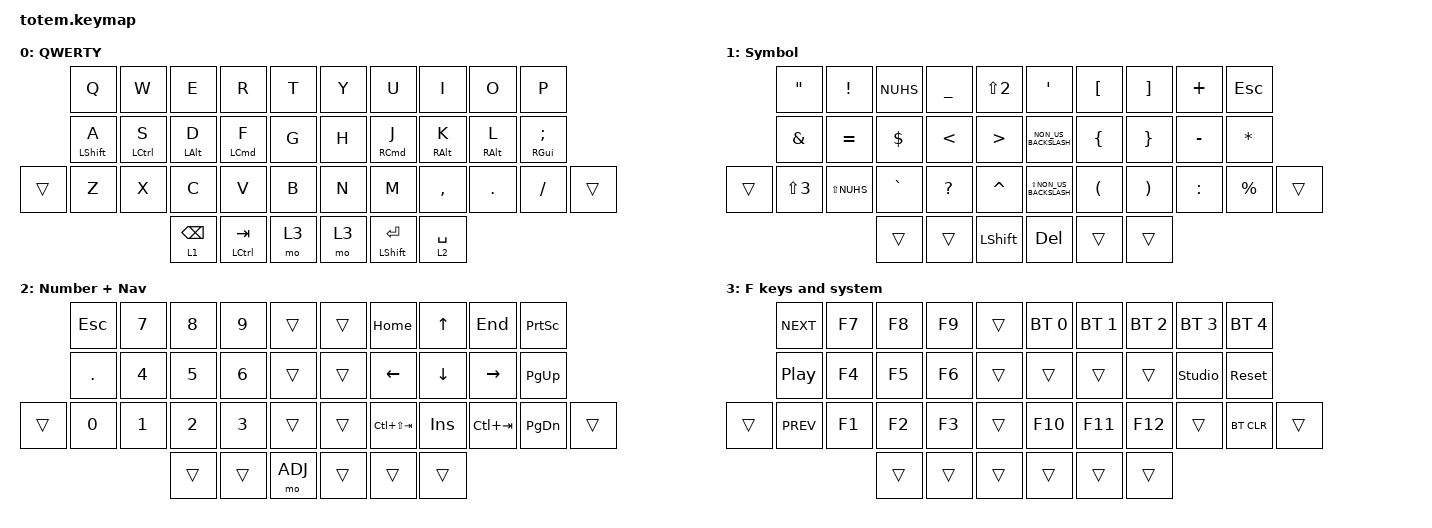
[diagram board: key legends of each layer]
#include <behaviors.dtsi>
#include <dt-bindings/zmk/bt.h>
#include <dt-bindings/zmk/keys.h>

#define BASE 0
#define NAV  1
#define SYM  2
#define ADJ  3

/ {
    combos {
        compatible = "zmk,combos";

        combo_esc {
            timeout-ms = <50>;
            key-positions = <0 1>;
            bindings = <&kp ESC>;
        };
    };

    macros {
        gif: gif {
            label = "giphy";
            compatible = "zmk,behavior-macro";
            #binding-cells = <0>;
            bindings =
                <&macro_press>,
                <&kp LSHFT>,
                <&macro_tap>,
                <&kp N2>,
                <&macro_release>,
                <&kp LSHFT>,
                <&macro_tap>,
                <&kp G &kp I &kp F>;
        };
    };

    behaviors {
        HRMAltL: HRMAltL {
            compatible = "zmk,behavior-hold-tap";
            label = "HRMALTL";
            bindings = <&kp>, <&kp>;

            #binding-cells = <2>;
            tapping-term-ms = <250>;
            quick-tap-ms = <150>;
            require-prior-idle-ms = <125>;
            flavor = "balanced";
            hold-trigger-on-release;
            hold-trigger-key-positions = <35 5 6 7 8 9 15 16 17 18 19 26 27 28 29 30 31 35 36 37>;
        };

        HRMControlL: HRMControlL {
            compatible = "zmk,behavior-hold-tap";
            label = "HRMCONTROLL";
            bindings = <&kp>, <&kp>;

            #binding-cells = <2>;
            tapping-term-ms = <300>;
            quick-tap-ms = <175>;
            require-prior-idle-ms = <150>;
            flavor = "balanced";
            hold-trigger-on-release;
            hold-trigger-key-positions = <35 5 6 7 8 9 15 16 17 18 19 26 27 28 29 30 31 35 36 37 32 33 34>;
        };

        HRMOptionL: HRMOptionL {
            compatible = "zmk,behavior-hold-tap";
            label = "HRMOPTIONL";
            bindings = <&kp>, <&kp>;

            #binding-cells = <2>;
            tapping-term-ms = <300>;
            quick-tap-ms = <175>;
            require-prior-idle-ms = <150>;
            flavor = "balanced";
            hold-trigger-on-release;
            hold-trigger-key-positions = <35 5 6 7 8 9 15 16 17 18 19 26 27 28 29 30 31 35 36 37>;
        };

        HRMCommandL: HRMCommandL {
            compatible = "zmk,behavior-hold-tap";
            label = "HRMCOMMANDL";
            bindings = <&kp>, <&kp>;

            #binding-cells = <2>;
            tapping-term-ms = <300>;
            quick-tap-ms = <175>;
            require-prior-idle-ms = <150>;
            flavor = "balanced";
            hold-trigger-on-release;
            hold-trigger-key-positions = <35 5 6 7 8 9 15 16 17 18 19 26 27 28 29 30 31 35 36 37 32 33 34>;
        };

        HRMAltR: HRMAltR {
            compatible = "zmk,behavior-hold-tap";
            label = "HRMALTR";
            bindings = <&kp>, <&kp>;

            #binding-cells = <2>;
            tapping-term-ms = <250>;
            quick-tap-ms = <150>;
            require-prior-idle-ms = <125>;
            flavor = "balanced";
            hold-trigger-on-release;
            hold-trigger-key-positions = <0 1 2 3 4 10 11 12 13 14 20 21 22 23 24 25 32 33 34>;
        };

        HRMControlR: HRMControlR {
            compatible = "zmk,behavior-hold-tap";
            label = "HRMCONTROLR";
            bindings = <&kp>, <&kp>;

            #binding-cells = <2>;
            tapping-term-ms = <300>;
            quick-tap-ms = <175>;
            require-prior-idle-ms = <150>;
            flavor = "balanced";
            hold-trigger-on-release;
            hold-trigger-key-positions = <0 1 2 3 4 10 11 12 13 14 20 21 22 23 24 25 32 33 34 35 36 37>;
        };

        HRMOptionR: HRMOptionR {
            compatible = "zmk,behavior-hold-tap";
            label = "HRMOPTIONR";
            bindings = <&kp>, <&kp>;

            #binding-cells = <2>;
            tapping-term-ms = <300>;
            quick-tap-ms = <175>;
            require-prior-idle-ms = <150>;
            flavor = "balanced";
            hold-trigger-on-release;
            hold-trigger-key-positions = <0 1 2 3 4 10 11 12 13 14 20 21 22 23 24 25 32 33 34 35 36 37>;
        };

        HRMCommandR: HRMCommandR {
            compatible = "zmk,behavior-hold-tap";
            label = "HRMCOMMANDR";
            bindings = <&kp>, <&kp>;

            #binding-cells = <2>;
            tapping-term-ms = <300>;
            quick-tap-ms = <175>;
            require-prior-idle-ms = <150>;
            flavor = "balanced";
            hold-trigger-on-release;
            hold-trigger-key-positions = <0 1 2 3 4 10 11 12 13 14 20 21 22 23 24 25 32 33 34 37 36 35 33 34 35>;
        };

        LTRepeat: LTRepeat {
            compatible = "zmk,behavior-hold-tap";
            label = "LTREPEAT";
            bindings = <&mo>, <&kp>;

            #binding-cells = <2>;
            tapping-term-ms = <300>;
            quick-tap-ms = <200>;
            flavor = "tap-preferred";
        };

        HRMShiftL: HRMShiftL {
            compatible = "zmk,behavior-hold-tap";
            label = "HRMSHIFTL";
            bindings = <&kp>, <&kp>;

            #binding-cells = <2>;
            tapping-term-ms = <300>;
            quick-tap-ms = <175>;
            require-prior-idle-ms = <150>;
            hold-trigger-key-positions = <15 5 26 27 16 6 8 9 16 17 18 19 27 28 29 30 30 21 0 22 11 1 2 12 23 3 13 24 25 14 4 7>;
            hold-trigger-on-release;
            flavor = "balanced";
        };

        HRMShiftR: HRMShiftR {
            compatible = "zmk,behavior-hold-tap";
            label = "HRMSHIFTR";
            bindings = <&kp>, <&kp>;

            #binding-cells = <2>;
            tapping-term-ms = <300>;
            quick-tap-ms = <175>;
            require-prior-idle-ms = <150>;
            flavor = "balanced";
            hold-trigger-key-positions = <21 10 0 22 1 23 12 2 11 24 13 3 25 14 4 26 15 5 27 16 6 28 17 7 29 18 8 30 9>;
        };
    };

    keymap {
        compatible = "zmk,keymap";

        // ▄▄▄▄▄▄▄▄▄▄▄▄▄▄▄▄▄▄▄▄▄▄▄▄▄▄▄▄▄▄▄▄▄▄▄▄▄▄▄▄▄▄▄▄▄▄▄▄▄▄▄▄▄▄▄▄▄▄▄▄▄▄▄▄▄▄▄▄▄▄▄▄▄▄▄▄▄▄▄▄▄▄▄▄▄▄▄▄▄▄▄▄▄▄▄▄▄▄▄▄▄▄▄▄▄▄▄▄▄▄▄▄▄▄▄▄▄▄▄▄▄▄▄▄▄▄▄▄▄▄▄▄▄▄▄▄▄▄▄▄▄▄▄▄▄▄▄▄▄

        default_layer {
            // ┏━━━━━━━━━━━━━━━━━━━━━━━━━━━━━━━━━━━━━━━┓

            label = "QWERTY";

            // ┗━━━━━━━━━━━━━━━━━━━━━━━━━━━━━━━━━━━━━━━┛
            //             ┏━━━━━━━━━━━┳━━━━━━━━━━━┳━━━━━━━━━━━┳━━━━━━━━━━━┳━━━━━━━━━━━┓   ┏━━━━━━━━━━━┳━━━━━━━━━━━┳━━━━━━━━━━━┳━━━━━━━━━━━┳━━━━━━━━━━━┓
            //             ┃     Q     ┃     W     ┃     F     ┃     P     ┃     G     ┃   ┃     J     ┃     L     ┃     U     ┃     Y     ┃     ;     ┃
            //             ┣━━━━━━━━━━━╋━━━━━━━━━━━╋━━━━━━━━━━━╋━━━━━━━━━━━╋━━━━━━━━━━━┫   ┣━━━━━━━━━━━╋━━━━━━━━━━━╋━━━━━━━━━━━╋━━━━━━━━━━━╋━━━━━━━━━━━┫
            //             ┃     A     ┃     R     ┃     S     ┃     T     ┃     D     ┃   ┃     H     ┃     N     ┃     E     ┃     I     ┃     O     ┃
            // ┏━━━━━━━━━━━╋━━━━━━━━━━━╋━━━━━━━━━━━╋━━━━━━━━━━━╋━━━━━━━━━━━╋━━━━━━━━━━━┫   ┣━━━━━━━━━━━╋━━━━━━━━━━━╋━━━━━━━━━━━╋━━━━━━━━━━━╋━━━━━━━━━━━╋━━━━━━━━━━━┓
            // ┃           ┃     Z     ┃     X     ┃     C     ┃     V     ┃     B     ┃   ┃     K     ┃     M     ┃     ,     ┃     .     ┃     /     ┃           ┃
            // ┗━━━━━━━━━━━┻━━━━━━━━━━━┻━━━━━━━━━━━╋━━━━━━━━━━━╋━━━━━━━━━━━╋━━━━━━━━━━━┫   ┣━━━━━━━━━━━╋━━━━━━━━━━━╋━━━━━━━━━━━╋━━━━━━━━━━━┻━━━━━━━━━━━┻━━━━━━━━━━━┛
            //                                     ┃           ┃    TAB    ┃    SPC    ┃   ┃   ENTER   ┃   BSPC    ┃           ┃
            //                                     ┗━━━━━━━━━━━┻━━━━━━━━━━━┻━━━━━━━━━━━┛   ┗━━━━━━━━━━━┻━━━━━━━━━━━┻━━━━━━━━━━━┛

            bindings = <
        &kp Q                    &kp W                 &kp E                  &kp R                        &kp T    &kp Y  &kp U                         &kp I               &kp O                &kp P
        &HRMShiftL LEFT_SHIFT A  &HRMControlL LCTRL S  &HRMOptionL LALT D     &HRMCommandL LEFT_COMMAND F  &kp G    &kp H  &HRMCommandR RIGHT_COMMAND J  &HRMOptionR RALT K  &HRMControlR RALT L  &mt RGUI SEMICOLON
&trans  &kp Z                    &kp X                 &kp C                  &kp V                        &kp B    &kp N  &kp M                         &kp COMMA           &kp DOT              &kp FSLH            &trans
                                                       &LTRepeat 1 BACKSPACE  &mt LCTRL TAB                &mo 3    &mo 3  &mt LEFT_SHIFT ENTER          &lt 2 SPACE
            >;
        };

        // ▄▄▄▄▄▄▄▄▄▄▄▄▄▄▄▄▄▄▄▄▄▄▄▄▄▄▄▄▄▄▄▄▄▄▄▄▄▄▄▄▄▄▄▄▄▄▄▄▄▄▄▄▄▄▄▄▄▄▄▄▄▄▄▄▄▄▄▄▄▄▄▄▄▄▄▄▄▄▄▄▄▄▄▄▄▄▄▄▄▄▄▄▄▄▄▄▄▄▄▄▄▄▄▄▄▄▄▄▄▄▄▄▄▄▄▄▄▄▄▄▄▄▄▄▄▄▄▄▄▄▄▄▄▄▄▄▄▄▄▄▄▄▄▄▄▄▄▄▄

        character_layer {
            // ┏━━━━━━━━━━━━━━━━━━━━━━━━━━━━━━━━━━━━━━━┓

            label = "Symbol";

            // ┗━━━━━━━━━━━━━━━━━━━━━━━━━━━━━━━━━━━━━━━┛
            //             ┏━━━━━━━━━━━┳━━━━━━━━━━━┳━━━━━━━━━━━┳━━━━━━━━━━━┳━━━━━━━━━━━┓   ┏━━━━━━━━━━━┳━━━━━━━━━━━┳━━━━━━━━━━━┳━━━━━━━━━━━┳━━━━━━━━━━━┓
            //             ┃           ┃           ┃     UP    ┃           ┃     {     ┃   ┃     }     ┃     7     ┃     8     ┃     9     ┃     +     ┃
            //             ┣━━━━━━━━━━━╋━━━━━━━━━━━╋━━━━━━━━━━━╋━━━━━━━━━━━╋━━━━━━━━━━━┫   ┣━━━━━━━━━━━╋━━━━━━━━━━━╋━━━━━━━━━━━╋━━━━━━━━━━━╋━━━━━━━━━━━┫
            //             ┃   SHIFT   ┃   LEFT    ┃    DOWN   ┃   RIGHT   ┃     [     ┃   ┃     ]     ┃     4     ┃     5     ┃     6     ┃     -     ┃
            // ┏━━━━━━━━━━━╋━━━━━━━━━━━╋━━━━━━━━━━━╋━━━━━━━━━━━╋━━━━━━━━━━━╋━━━━━━━━━━━┫   ┣━━━━━━━━━━━╋━━━━━━━━━━━╋━━━━━━━━━━━╋━━━━━━━━━━━╋━━━━━━━━━━━╋━━━━━━━━━━━┓
            // ┃           ┃           ┃   P UP    ┃  C LOCK   ┃  P DOWN   ┃     (     ┃   ┃     )     ┃     1     ┃     2     ┃     3     ┃     *     ┃           ┃
            // ┗━━━━━━━━━━━┻━━━━━━━━━━━┻━━━━━━━━━━━╋━━━━━━━━━━━╋━━━━━━━━━━━╋━━━━━━━━━━━┫   ┣━━━━━━━━━━━╋━━━━━━━━━━━╋━━━━━━━━━━━╋━━━━━━━━━━━┻━━━━━━━━━━━┻━━━━━━━━━━━┛
            //                                     ┃           ┃    TAB    ┃    SPC    ┃   ┃    DEL    ┃     0     ┃           ┃
            //                                     ┗━━━━━━━━━━━┻━━━━━━━━━━━┻━━━━━━━━━━━┛   ┗━━━━━━━━━━━┻━━━━━━━━━━━┻━━━━━━━━━━━┛

            bindings = <
        &kp DOUBLE_QUOTES  &kp EXCLAMATION  &kp NUHS   &kp UNDER  &kp LS(N2)        &kp SQT                   &kp LBKT              &kp RBKT               &kp PLUS   &kp ESC
        &kp AMPS           &kp EQUAL        &kp DLLR   &kp LT     &kp GT            &kp NON_US_BACKSLASH      &kp LBRC              &kp RIGHT_BRACE        &kp MINUS  &kp ASTRK
&trans  &kp LS(NUMBER_3)   &kp LS(NUHS)     &kp GRAVE  &kp QMARK  &kp CARET         &kp LS(NON_US_BACKSLASH)  &kp LEFT_PARENTHESIS  &kp RIGHT_PARENTHESIS  &kp COLON  &kp PRCNT  &trans
                                            &trans     &trans     &kp LEFT_SHIFT    &kp DELETE                &trans                &trans
            >;
        };

        // ▄▄▄▄▄▄▄▄▄▄▄▄▄▄▄▄▄▄▄▄▄▄▄▄▄▄▄▄▄▄▄▄▄▄▄▄▄▄▄▄▄▄▄▄▄▄▄▄▄▄▄▄▄▄▄▄▄▄▄▄▄▄▄▄▄▄▄▄▄▄▄▄▄▄▄▄▄▄▄▄▄▄▄▄▄▄▄▄▄▄▄▄▄▄▄▄▄▄▄▄▄▄▄▄▄▄▄▄▄▄▄▄▄▄▄▄▄▄▄▄▄▄▄▄▄▄▄▄▄▄▄▄▄▄▄▄▄▄▄▄▄▄▄▄▄▄▄▄▄

        numeric_layer {
            // ┏━━━━━━━━━━━━━━━━━━━━━━━━━━━━━━━━━━━━━━━┓

            label = "Number + Nav";

            // ┗━━━━━━━━━━━━━━━━━━━━━━━━━━━━━━━━━━━━━━━┛
            //             ┏━━━━━━━━━━━┳━━━━━━━━━━━┳━━━━━━━━━━━┳━━━━━━━━━━━┳━━━━━━━━━━━┓   ┏━━━━━━━━━━━┳━━━━━━━━━━━┳━━━━━━━━━━━┳━━━━━━━━━━━┳━━━━━━━━━━━┓
            //             ┃     !     ┃     @     ┃     #     ┃     $     ┃     %     ┃   ┃     ˆ     ┃     &     ┃     Ü     ┃     '     ┃     "     ┃
            //             ┣━━━━━━━━━━━╋━━━━━━━━━━━╋━━━━━━━━━━━╋━━━━━━━━━━━╋━━━━━━━━━━━┫   ┣━━━━━━━━━━━╋━━━━━━━━━━━╋━━━━━━━━━━━╋━━━━━━━━━━━╋━━━━━━━━━━━┫
            //             ┃     Ä     ┃           ┃    SZ     ┃           ┃           ┃   ┃   MUTE    ┃   YEN     ┃   EURO    ┃  POUND    ┃     Ö     ┃
            // ┏━━━━━━━━━━━╋━━━━━━━━━━━╋━━━━━━━━━━━╋━━━━━━━━━━━╋━━━━━━━━━━━╋━━━━━━━━━━━┫   ┣━━━━━━━━━━━╋━━━━━━━━━━━╋━━━━━━━━━━━╋━━━━━━━━━━━╋━━━━━━━━━━━╋━━━━━━━━━━━┓
            // ┃           ┃  EMAIL1   ┃  EMAIL2   ┃           ┃           ┃           ┃   ┃   VOL-    ┃   VOL+    ┃   LAST    ┃   NEXT    ┃     \     ┃           ┃
            // ┗━━━━━━━━━━━┻━━━━━━━━━━━┻━━━━━━━━━━━╋━━━━━━━━━━━╋━━━━━━━━━━━╋━━━━━━━━━━━┫   ┣━━━━━━━━━━━╋━━━━━━━━━━━╋━━━━━━━━━━━╋━━━━━━━━━━━┻━━━━━━━━━━━┻━━━━━━━━━━━┛
            //                                     ┃           ┃    GIF    ┃    ADJ    ┃   ┃           ┃           ┃           ┃
            //                                     ┗━━━━━━━━━━━┻━━━━━━━━━━━┻━━━━━━━━━━━┛   ┗━━━━━━━━━━━┻━━━━━━━━━━━┻━━━━━━━━━━━┛

            bindings = <
        &kp ESCAPE  &kp N7        &kp N8        &kp N9        &trans     &trans  &kp HOME         &kp UP_ARROW    &kp END          &kp PRINTSCREEN
        &kp DOT     &kp NUMBER_4  &kp N5        &kp N6        &trans     &trans  &kp LEFT_ARROW   &kp DOWN_ARROW  &kp RIGHT_ARROW  &kp PG_UP
&trans  &kp N0      &kp NUMBER_1  &kp NUMBER_2  &kp NUMBER_3  &trans     &trans  &kp LC(LS(TAB))  &kp INS         &kp LC(TAB)      &kp PAGE_DOWN    &trans
                                  &trans        &trans        &mo ADJ    &trans  &trans           &trans
            >;
        };

        // ▄▄▄▄▄▄▄▄▄▄▄▄▄▄▄▄▄▄▄▄▄▄▄▄▄▄▄▄▄▄▄▄▄▄▄▄▄▄▄▄▄▄▄▄▄▄▄▄▄▄▄▄▄▄▄▄▄▄▄▄▄▄▄▄▄▄▄▄▄▄▄▄▄▄▄▄▄▄▄▄▄▄▄▄▄▄▄▄▄▄▄▄▄▄▄▄▄▄▄▄▄▄▄▄▄▄▄▄▄▄▄▄▄▄▄▄▄▄▄▄▄▄▄▄▄▄▄▄▄▄▄▄▄▄▄▄▄▄▄▄▄▄▄▄▄▄▄▄▄

        extra_stuff {
            // ┏━━━━━━━━━━━━━━━━━━━━━━━━━━━━━━━━━━━━━━━┓

            label = "F keys and system";

            // ┗━━━━━━━━━━━━━━━━━━━━━━━━━━━━━━━━━━━━━━━┛
            //             ┏━━━━━━━━━━━┳━━━━━━━━━━━┳━━━━━━━━━━━┳━━━━━━━━━━━┳━━━━━━━━━━━┓   ┏━━━━━━━━━━━┳━━━━━━━━━━━┳━━━━━━━━━━━┳━━━━━━━━━━━┳━━━━━━━━━━━┓
            //             ┃   RESET   ┃ BT CLEAR  ┃  OUT TOG  ┃           ┃           ┃   ┃           ┃    F7     ┃    F8     ┃    F9     ┃    F12    ┃
            //             ┣━━━━━━━━━━━╋━━━━━━━━━━━╋━━━━━━━━━━━╋━━━━━━━━━━━╋━━━━━━━━━━━┫   ┣━━━━━━━━━━━╋━━━━━━━━━━━╋━━━━━━━━━━━╋━━━━━━━━━━━╋━━━━━━━━━━━┫
            //             ┃ BOOTLOAD  ┃ BT NEXT   ┃           ┃           ┃           ┃   ┃           ┃    F4     ┃    F5     ┃    F6     ┃    F11    ┃
            // ┏━━━━━━━━━━━╋━━━━━━━━━━━╋━━━━━━━━━━━╋━━━━━━━━━━━╋━━━━━━━━━━━╋━━━━━━━━━━━┫   ┣━━━━━━━━━━━╋━━━━━━━━━━━╋━━━━━━━━━━━╋━━━━━━━━━━━╋━━━━━━━━━━━╋━━━━━━━━━━━┓
            // ┃           ┃           ┃ BT PREV   ┃           ┃           ┃           ┃   ┃           ┃    F1     ┃    F2     ┃    F3     ┃    F10    ┃           ┃
            // ┗━━━━━━━━━━━┻━━━━━━━━━━━┻━━━━━━━━━━━╋━━━━━━━━━━━╋━━━━━━━━━━━╋━━━━━━━━━━━┫   ┣━━━━━━━━━━━╋━━━━━━━━━━━╋━━━━━━━━━━━╋━━━━━━━━━━━┻━━━━━━━━━━━┻━━━━━━━━━━━┛
            //                                     ┃           ┃           ┃           ┃   ┃           ┃           ┃           ┃
            //                                     ┗━━━━━━━━━━━┻━━━━━━━━━━━┻━━━━━━━━━━━┛   ┗━━━━━━━━━━━┻━━━━━━━━━━━┻━━━━━━━━━━━┛

            bindings = <
        &kp C_NEXT        &kp F7  &kp F8  &kp F9  &trans    &bt BT_SEL 0  &bt BT_SEL 1  &bt BT_SEL 2  &bt BT_SEL 3    &bt BT_SEL 4
        &kp C_PLAY_PAUSE  &kp F4  &kp F5  &kp F6  &trans    &trans        &trans        &trans        &studio_unlock  &sys_reset
&trans  &kp C_PREV        &kp F1  &kp F2  &kp F3  &trans    &kp F10       &kp F11       &kp F12       &trans          &bt BT_CLR    &trans
                                  &trans  &trans  &trans    &trans        &trans        &trans
            >;
        };
    };
};
